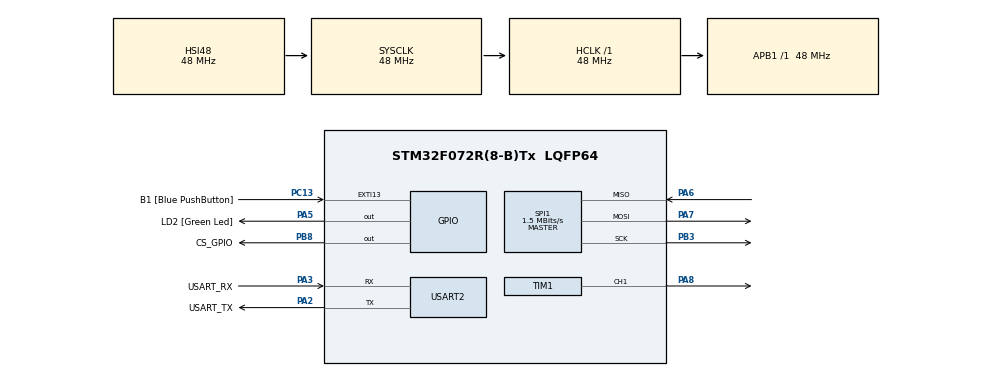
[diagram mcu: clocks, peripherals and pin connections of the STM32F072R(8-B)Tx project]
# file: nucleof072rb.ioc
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Mcu.Family=STM32F0
Mcu.Name=STM32F072R(8-B)Tx
Mcu.Package=LQFP64
PA13.GPIO_Label=TMS
PA13.Mode=Serial_Wire
PA13.Signal=SYS_SWDIO
PA14.GPIO_Label=TCK
PA14.Mode=Serial_Wire
PA14.Signal=SYS_SWCLK
PA2.GPIO_Label=USART_TX
PA2.GPIO_Mode=GPIO_MODE_AF_PP
PA2.GPIO_PuPd=GPIO_NOPULL
PA2.GPIO_Speed=GPIO_SPEED_FREQ_LOW
PA2.Mode=Asynchronous
PA2.Signal=USART2_TX
PA3.GPIO_Label=USART_RX
PA3.GPIO_Mode=GPIO_MODE_AF_PP
PA3.GPIO_PuPd=GPIO_NOPULL
PA3.GPIO_Speed=GPIO_SPEED_FREQ_LOW
PA3.Mode=Asynchronous
PA3.Signal=USART2_RX
PA5.GPIO_Label=LD2 [Green Led]
PA5.GPIO_Mode=GPIO_MODE_OUTPUT_PP
PA5.GPIO_PuPd=GPIO_NOPULL
PA5.GPIO_Speed=GPIO_SPEED_FREQ_LOW
PA5.Signal=GPIO_Output
PA6.Mode=Full_Duplex_Master
PA6.Signal=SPI1_MISO
PA7.Mode=Full_Duplex_Master
PA7.Signal=SPI1_MOSI
PA8.Signal=S_TIM1_CH1
PB3.Mode=Full_Duplex_Master
PB3.Signal=SPI1_SCK
PB8.GPIO_Label=CS_GPIO
PB8.Signal=GPIO_Output
PC13.GPIO_Label=B1 [Blue PushButton]
PC13.GPIO_ModeDefaultEXTI=GPIO_MODE_IT_FALLING
PC13.Signal=GPXTI13
PC14-OSC32_IN.Mode=LSE-External-Oscillator
PC14-OSC32_IN.Signal=RCC_OSC32_IN
PC15-OSC32_OUT.Mode=LSE-External-Oscillator
PC15-OSC32_OUT.Signal=RCC_OSC32_OUT
PF0-OSC_IN.Mode=HSE-External-Clock-Source
PF0-OSC_IN.Signal=RCC_OSC_IN
PF1-OSC_OUT.Signal=RCC_OSC_OUT
ProjectManager.HeapSize=0x200
ProjectManager.StackSize=0x400
ProjectManager.TargetToolchain=STM32CubeIDE
RCC.AHBFreq_Value=48000000
RCC.APB1Freq_Value=48000000
RCC.APB1TimFreq_Value=48000000
RCC.FLatency-AdvancedSettings=FLASH_LATENCY_1
RCC.HCLKFreq_Value=48000000
RCC.PLLDivider=RCC_PREDIV_DIV2
RCC.PLLMUL=RCC_PLL_MUL12
RCC.PREFETCH_ENABLE-AdvancedSettings=1
RCC.SYSCLKFreq_VALUE=48000000
RCC.SYSCLKSource=RCC_SYSCLKSOURCE_HSI48
SH.S_TIM1_CH1.0=TIM1_CH1,PWM Generation1 CH1
SPI1.BaudRatePrescaler=SPI_BAUDRATEPRESCALER_32
SPI1.CalculateBaudRate=1.5 MBits/s
SPI1.DataSize=SPI_DATASIZE_8BIT
SPI1.Direction=SPI_DIRECTION_2LINES
SPI1.FirstBit=SPI_FIRSTBIT_MSB
SPI1.Mode=SPI_MODE_MASTER
SPI1.VirtualType=VM_MASTER
TIM1.Channel-PWM\ Generation1\ CH1=TIM_CHANNEL_1
TIM1.Period=63999
TIM1.Prescaler=14
TIM1.Pulse-PWM\ Generation1\ CH1=0
USART2.VirtualMode=VM_ASYNC
USART2.VirtualMode-Asynchronous=VM_ASYNC
VP_TIM1_VS_ClockSourceINT.Mode=Internal
board=NUCLEO-F072RB

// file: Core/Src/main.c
/* USER CODE BEGIN Header */
/**
  ******************************************************************************
  * @file           : main.c
  * @brief          : Main program body
  ******************************************************************************
  * @attention
  *
  * <h2><center>&copy; Copyright (c) 2021 STMicroelectronics.
  * All rights reserved.</center></h2>
  *
  * This software component is licensed by ST under BSD 3-Clause license,
  * the "License"; You may not use this file except in compliance with the
  * License. You may obtain a copy of the License at:
  *                        opensource.org/licenses/BSD-3-Clause
  *
  ******************************************************************************
  */
/* USER CODE END Header */
#include "main.h"
#include "spi.h"
#include "tim.h"
#include "usart.h"
#include "gpio.h"

/* USER CODE BEGIN PV */
// helper function (not really necessary ngl)

// Added a channel parameter so they can add any channel they wanted
uint16_t MCP3004read_value(uint8_t channel) {
	// First initialize the buffer arrays
	uint8_t pTxData[] = {0b1, (1U << 7) | (channel << 4), 0b0};
	uint8_t pRxData[3];

	// Pulling the CS line low to raed data
	HAL_GPIO_WritePin(GPIOB, CS_GPIO_Pin, 0);

	// Using the Transmit and Receive tool
	HAL_SPI_TransmitReceive(&hspi1, pTxData, pRxData, 3, 10);

	// Pulling the CS line high after communication done
	HAL_GPIO_WritePin(GPIOB, CS_GPIO_Pin, 1);

	// Grabbing the proper ADC readings (line up with bit positions)
	uint16_t adc_data = (pRxData[1] & 3U) << 8 | pRxData[2];

	// returning the data
	return adc_data;
}

/* USER CODE END PV */

void SystemClock_Config(void);

int main(void)
{

  /* MCU Configuration--------------------------------------------------------*/

  /* Reset of all peripherals, Initializes the Flash interface and the Systick. */
  HAL_Init();

  /* Configure the system clock */
  SystemClock_Config();

  /* Initialize all configured peripherals */
  MX_GPIO_Init();
  MX_USART2_UART_Init();
  MX_SPI1_Init();
  MX_TIM1_Init();
  /* USER CODE BEGIN 2 */
  // Adding the timer
  HAL_TIM_PWM_Start(&htim1, TIM_CHANNEL_1);
  uint16_t adc_value = 0;
  uint32_t ccr_value = 0;
  // Start the communication

  /* USER CODE END 2 */

  /* Infinite loop */
  while (1)
  {

    /* USER CODE BEGIN 3 */
	// Transmitting + reading the data via spi
	adc_value = MCP3004read_value(0b0);
	ccr_value = 3200U + (3200U * adc_value)/1023U;
	__HAL_TIM_SET_COMPARE(&htim1, TIM_CHANNEL_1, ccr_value);
	HAL_Delay(10);

  }
  /* USER CODE END 3 */
}

void SystemClock_Config(void)
{
  RCC_OscInitTypeDef RCC_OscInitStruct = {0};
  RCC_ClkInitTypeDef RCC_ClkInitStruct = {0};
  RCC_PeriphCLKInitTypeDef PeriphClkInit = {0};

  /** Initializes the RCC Oscillators according to the specified parameters
  * in the RCC_OscInitTypeDef structure.
  */
  RCC_OscInitStruct.OscillatorType = RCC_OSCILLATORTYPE_HSI48;
  RCC_OscInitStruct.HSI48State = RCC_HSI48_ON;
  RCC_OscInitStruct.PLL.PLLState = RCC_PLL_NONE;
  if (HAL_RCC_OscConfig(&RCC_OscInitStruct) != HAL_OK)
  {
    Error_Handler();
  }
  /** Initializes the CPU, AHB and APB buses clocks
  */
  RCC_ClkInitStruct.ClockType = RCC_CLOCKTYPE_HCLK|RCC_CLOCKTYPE_SYSCLK
                              |RCC_CLOCKTYPE_PCLK1;
  RCC_ClkInitStruct.SYSCLKSource = RCC_SYSCLKSOURCE_HSI48;
  RCC_ClkInitStruct.AHBCLKDivider = RCC_SYSCLK_DIV1;
  RCC_ClkInitStruct.APB1CLKDivider = RCC_HCLK_DIV1;

  if (HAL_RCC_ClockConfig(&RCC_ClkInitStruct, FLASH_LATENCY_1) != HAL_OK)
  {
    Error_Handler();
  }
  PeriphClkInit.PeriphClockSelection = RCC_PERIPHCLK_USART2;
  PeriphClkInit.Usart2ClockSelection = RCC_USART2CLKSOURCE_PCLK1;
  if (HAL_RCCEx_PeriphCLKConfig(&PeriphClkInit) != HAL_OK)
  {
    Error_Handler();
  }
}

void Error_Handler(void)
{
  __disable_irq();
  while (1)
  {
  }
}

/************************ (C) COPYRIGHT STMicroelectronics *****END OF FILE****/
